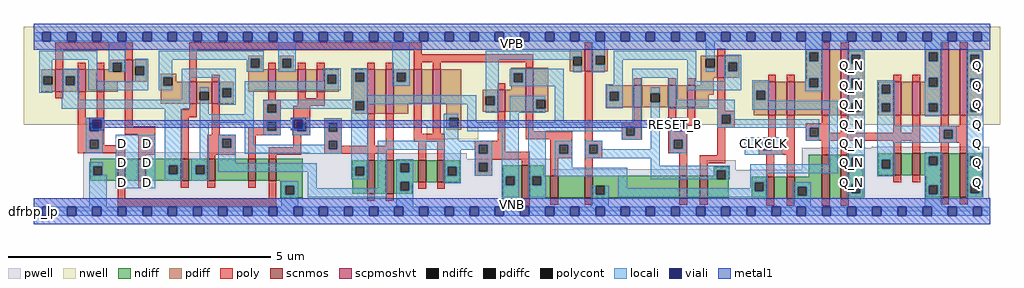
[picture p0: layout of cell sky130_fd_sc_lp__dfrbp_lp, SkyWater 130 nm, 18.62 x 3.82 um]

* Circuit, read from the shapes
.subckt sky130_fd_sc_lp__dfrbp_lp CLK D RESET_B VGND VNB VPB VPWR Q Q_N
XM1 n1 RESET_B VGND VNB sky130_fd_pr__nfet_01v8 w=0.42 l=0.15
XM2 n2 D n1 VNB sky130_fd_pr__nfet_01v8 w=0.42 l=0.15
XM3 n3 n4 n2 VNB sky130_fd_pr__nfet_01v8 w=0.42 l=0.15
XM4 n5 n6 n3 VNB sky130_fd_pr__nfet_01v8 w=0.42 l=0.15
XM5 n7 n8 n5 VNB sky130_fd_pr__nfet_01v8 w=0.42 l=0.15
XM6 VGND RESET_B n7 VNB sky130_fd_pr__nfet_01v8 w=0.42 l=0.15
XM7 n9 n3 n8 VNB sky130_fd_pr__nfet_01v8 w=0.64 l=0.15
XM8 VGND n3 n9 VNB sky130_fd_pr__nfet_01v8 w=0.64 l=0.15
XM9 n10 n4 VGND VNB sky130_fd_pr__nfet_01v8 w=0.42 l=0.15
XM10 n6 n4 n10 VNB sky130_fd_pr__nfet_01v8 w=0.42 l=0.15
XM11 n11 n6 n8 VNB sky130_fd_pr__nfet_01v8 w=0.64 l=0.15
XM12 n12 n4 n11 VNB sky130_fd_pr__nfet_01v8 w=0.42 l=0.15
XM13 VGND n13 n12 VNB sky130_fd_pr__nfet_01v8 w=0.42 l=0.15
XM14 n14 RESET_B VGND VNB sky130_fd_pr__nfet_01v8 w=0.42 l=0.15
XM15 n13 n11 n14 VNB sky130_fd_pr__nfet_01v8 w=0.42 l=0.15
XM16 n15 CLK n4 VNB sky130_fd_pr__nfet_01v8 w=0.42 l=0.15
XM17 VGND CLK n15 VNB sky130_fd_pr__nfet_01v8 w=0.42 l=0.15
XM18 n16 n11 VGND VNB sky130_fd_pr__nfet_01v8 w=0.84 l=0.15
XM19 Q_N n11 n16 VNB sky130_fd_pr__nfet_01v8 w=0.84 l=0.15
XM20 n17 n11 n18 VNB sky130_fd_pr__nfet_01v8 w=0.42 l=0.15
XM21 VGND n11 n17 VNB sky130_fd_pr__nfet_01v8 w=0.42 l=0.15
XM22 n19 n18 VGND VNB sky130_fd_pr__nfet_01v8 w=0.84 l=0.15
XM23 Q n18 n19 VNB sky130_fd_pr__nfet_01v8 w=0.84 l=0.15
XM24 n2 D n20 VPB sky130_fd_pr__pfet_01v8_hvt w=0.42 l=0.15
XM25 n21 RESET_B n2 VPB sky130_fd_pr__pfet_01v8_hvt w=0.42 l=0.15
XM26 VPWR RESET_B n21 VPB sky130_fd_pr__pfet_01v8_hvt w=0.42 l=0.15
XM27 n20 D VPWR VPB sky130_fd_pr__pfet_01v8_hvt w=0.42 l=0.15
XM28 n3 n4 n22 VPB sky130_fd_pr__pfet_01v8_hvt w=0.42 l=0.15
XM29 n2 n6 n3 VPB sky130_fd_pr__pfet_01v8_hvt w=0.42 l=0.15
XM30 VPWR n8 n22 VPB sky130_fd_pr__pfet_01v8_hvt w=0.42 l=0.15
XM31 n23 RESET_B VPWR VPB sky130_fd_pr__pfet_01v8_hvt w=0.42 l=0.15
XM32 n3 RESET_B n23 VPB sky130_fd_pr__pfet_01v8_hvt w=0.42 l=0.15
XM33 n24 n3 n8 VPB sky130_fd_pr__pfet_01v8_hvt w=0.84 l=0.15
XM34 VPWR n3 n24 VPB sky130_fd_pr__pfet_01v8_hvt w=0.84 l=0.15
XM35 n25 n4 VPWR VPB sky130_fd_pr__pfet_01v8_hvt w=0.64 l=0.15
XM36 n6 n4 n25 VPB sky130_fd_pr__pfet_01v8_hvt w=0.64 l=0.15
XM37 n11 n6 n26 VPB sky130_fd_pr__pfet_01v8_hvt w=0.42 l=0.15
XM38 n8 n4 n11 VPB sky130_fd_pr__pfet_01v8_hvt w=0.84 l=0.15
XM39 VPWR n13 n26 VPB sky130_fd_pr__pfet_01v8_hvt w=0.42 l=0.15
XM40 n13 n11 n27 VPB sky130_fd_pr__pfet_01v8_hvt w=0.42 l=0.15
XM41 n28 RESET_B n13 VPB sky130_fd_pr__pfet_01v8_hvt w=0.42 l=0.15
XM42 VPWR RESET_B n28 VPB sky130_fd_pr__pfet_01v8_hvt w=0.42 l=0.15
XM43 n27 n11 VPWR VPB sky130_fd_pr__pfet_01v8_hvt w=0.42 l=0.15
XM44 n29 CLK n4 VPB sky130_fd_pr__pfet_01v8_hvt w=0.64 l=0.15
XM45 VPWR CLK n29 VPB sky130_fd_pr__pfet_01v8_hvt w=0.64 l=0.15
XM46 n30 n11 VPWR VPB sky130_fd_pr__pfet_01v8_hvt w=1.26 l=0.15
XM47 Q_N n11 n30 VPB sky130_fd_pr__pfet_01v8_hvt w=1.26 l=0.15
XM48 n31 n11 n18 VPB sky130_fd_pr__pfet_01v8_hvt w=0.64 l=0.15
XM49 VPWR n11 n31 VPB sky130_fd_pr__pfet_01v8_hvt w=0.64 l=0.15
XM50 n32 n18 VPWR VPB sky130_fd_pr__pfet_01v8_hvt w=1.26 l=0.15
XM51 Q n18 n32 VPB sky130_fd_pr__pfet_01v8_hvt w=1.26 l=0.15
.ends

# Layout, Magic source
magic
tech sky130A
magscale 1 2
<< nwell >>
rect -38 331 3686 704
rect 1498 275 1695 331
<< pwell >>
rect 3196 242 3645 247
rect 189 221 1051 226
rect 189 201 1651 221
rect 189 161 1974 201
rect 2567 161 2677 195
rect 189 158 2677 161
rect 2930 158 3645 242
rect 189 49 3645 158
rect 0 0 3648 49
<< scnmos >>
rect 319 116 349 200
rect 397 116 427 200
rect 560 116 590 200
rect 662 116 692 200
rect 817 116 847 200
rect 895 116 925 200
rect 1271 67 1301 195
rect 1343 67 1373 195
rect 1466 111 1496 195
rect 1538 111 1568 195
rect 1861 47 1891 175
rect 1970 51 2000 135
rect 2102 51 2132 135
rect 2463 51 2493 135
rect 2541 51 2571 135
rect 2795 48 2825 132
rect 2873 48 2903 132
rect 3006 48 3036 216
rect 3078 48 3108 216
rect 3279 137 3309 221
rect 3351 137 3381 221
rect 3460 53 3490 221
rect 3532 53 3562 221
<< scpmoshvt >>
rect 81 457 111 541
rect 167 457 197 541
rect 239 457 269 541
rect 346 494 376 578
rect 592 411 622 495
rect 678 411 708 495
rect 893 457 923 541
rect 1007 457 1037 541
rect 1079 457 1109 541
rect 1271 373 1301 541
rect 1343 373 1373 541
rect 1450 413 1480 541
rect 1522 413 1552 541
rect 1769 379 1799 463
rect 1876 379 1906 547
rect 2102 535 2132 619
rect 2608 510 2638 594
rect 2289 397 2319 481
rect 2421 397 2451 481
rect 2493 397 2523 481
rect 2801 367 2831 495
rect 2873 367 2903 495
rect 3006 367 3036 619
rect 3078 367 3108 619
rect 3279 367 3309 495
rect 3351 367 3381 495
rect 3460 367 3490 619
rect 3532 367 3562 619
<< ndiff >>
rect 215 172 319 200
rect 215 138 227 172
rect 261 138 319 172
rect 215 116 319 138
rect 349 116 397 200
rect 427 175 560 200
rect 427 141 515 175
rect 549 141 560 175
rect 427 116 560 141
rect 590 175 662 200
rect 590 141 617 175
rect 651 141 662 175
rect 590 116 662 141
rect 692 116 817 200
rect 847 116 895 200
rect 925 116 1025 200
rect 940 98 1025 116
rect 940 64 959 98
rect 993 64 1025 98
rect 1214 170 1271 195
rect 1214 136 1226 170
rect 1260 136 1271 170
rect 1214 67 1271 136
rect 1301 67 1343 195
rect 1373 183 1466 195
rect 1373 149 1398 183
rect 1432 149 1466 183
rect 1373 113 1466 149
rect 1373 79 1398 113
rect 1432 111 1466 113
rect 1496 111 1538 195
rect 1568 170 1625 195
rect 1568 136 1579 170
rect 1613 136 1625 170
rect 1568 111 1625 136
rect 1788 133 1861 175
rect 1432 79 1444 111
rect 1788 99 1800 133
rect 1834 99 1861 133
rect 1373 67 1444 79
rect 940 52 1025 64
rect 1788 47 1861 99
rect 1891 135 1948 175
rect 2593 157 2651 169
rect 2593 135 2605 157
rect 1891 133 1970 135
rect 1891 99 1902 133
rect 1936 99 1970 133
rect 1891 51 1970 99
rect 2000 51 2102 135
rect 2132 97 2463 135
rect 2132 63 2143 97
rect 2177 63 2463 97
rect 2132 51 2463 63
rect 2493 51 2541 135
rect 2571 123 2605 135
rect 2639 123 2651 157
rect 2956 132 3006 216
rect 2571 51 2651 123
rect 2738 111 2795 132
rect 2738 77 2750 111
rect 2784 77 2795 111
rect 1891 47 1948 51
rect 2738 48 2795 77
rect 2825 48 2873 132
rect 2903 94 3006 132
rect 2903 60 2914 94
rect 2948 60 3006 94
rect 2903 48 3006 60
rect 3036 48 3078 216
rect 3108 204 3165 216
rect 3108 170 3119 204
rect 3153 170 3165 204
rect 3108 103 3165 170
rect 3222 196 3279 221
rect 3222 162 3234 196
rect 3268 162 3279 196
rect 3222 137 3279 162
rect 3309 137 3351 221
rect 3381 209 3460 221
rect 3381 175 3415 209
rect 3449 175 3460 209
rect 3381 137 3460 175
rect 3108 69 3119 103
rect 3153 69 3165 103
rect 3108 48 3165 69
rect 3403 99 3460 137
rect 3403 65 3415 99
rect 3449 65 3460 99
rect 3403 53 3460 65
rect 3490 53 3532 221
rect 3562 209 3619 221
rect 3562 175 3573 209
rect 3607 175 3619 209
rect 3562 103 3619 175
rect 3562 69 3573 103
rect 3607 69 3619 103
rect 3562 53 3619 69
<< pdiff >>
rect 291 566 346 578
rect 291 541 301 566
rect 27 516 81 541
rect 27 482 36 516
rect 70 482 81 516
rect 27 457 81 482
rect 111 515 167 541
rect 111 481 122 515
rect 156 481 167 515
rect 111 457 167 481
rect 197 457 239 541
rect 269 532 301 541
rect 335 532 346 566
rect 269 494 346 532
rect 376 553 430 578
rect 376 519 387 553
rect 421 519 430 553
rect 376 494 430 519
rect 484 512 543 524
rect 269 457 319 494
rect 484 478 493 512
rect 527 495 543 512
rect 817 582 871 594
rect 817 548 827 582
rect 861 548 871 582
rect 938 582 992 594
rect 817 541 871 548
rect 938 548 948 582
rect 982 548 992 582
rect 938 541 992 548
rect 2045 589 2102 619
rect 2045 555 2057 589
rect 2091 555 2102 589
rect 527 478 592 495
rect 484 411 592 478
rect 622 457 678 495
rect 622 423 633 457
rect 667 423 678 457
rect 622 411 678 423
rect 708 470 763 495
rect 708 436 719 470
rect 753 436 763 470
rect 817 457 893 541
rect 923 457 1007 541
rect 1037 457 1079 541
rect 1109 520 1163 541
rect 1109 486 1120 520
rect 1154 486 1163 520
rect 1109 457 1163 486
rect 1217 529 1271 541
rect 1217 495 1226 529
rect 1260 495 1271 529
rect 708 411 763 436
rect 1217 419 1271 495
rect 1217 385 1226 419
rect 1260 385 1271 419
rect 1217 373 1271 385
rect 1301 373 1343 541
rect 1373 529 1450 541
rect 1373 495 1384 529
rect 1418 495 1450 529
rect 1373 413 1450 495
rect 1480 413 1522 541
rect 1552 413 1630 541
rect 1821 527 1876 547
rect 1821 493 1831 527
rect 1865 493 1876 527
rect 1821 463 1876 493
rect 1373 373 1428 413
rect 1574 357 1630 413
rect 1712 438 1769 463
rect 1712 404 1724 438
rect 1758 404 1769 438
rect 1712 379 1769 404
rect 1799 379 1876 463
rect 1906 425 1963 547
rect 2045 535 2102 555
rect 2132 594 2189 619
rect 2947 607 3006 619
rect 2132 560 2143 594
rect 2177 560 2189 594
rect 2132 535 2189 560
rect 2545 582 2608 594
rect 2545 548 2563 582
rect 2597 548 2608 582
rect 1906 391 1917 425
rect 1951 391 1963 425
rect 1906 379 1963 391
rect 1574 323 1584 357
rect 1618 323 1630 357
rect 1574 311 1630 323
rect 2545 510 2608 548
rect 2638 569 2692 594
rect 2638 535 2649 569
rect 2683 535 2692 569
rect 2638 510 2692 535
rect 2947 573 2959 607
rect 2993 573 3006 607
rect 2545 481 2593 510
rect 2185 456 2289 481
rect 2185 422 2197 456
rect 2231 422 2289 456
rect 2185 397 2289 422
rect 2319 450 2421 481
rect 2319 416 2353 450
rect 2387 416 2421 450
rect 2319 397 2421 416
rect 2451 397 2493 481
rect 2523 445 2593 481
rect 2523 397 2575 445
rect 2947 508 3006 573
rect 2947 495 2959 508
rect 2746 460 2801 495
rect 2746 426 2756 460
rect 2790 426 2801 460
rect 2746 367 2801 426
rect 2831 367 2873 495
rect 2903 474 2959 495
rect 2993 474 3006 508
rect 2903 367 3006 474
rect 3036 367 3078 619
rect 3108 597 3165 619
rect 3108 563 3119 597
rect 3153 563 3165 597
rect 3108 505 3165 563
rect 3403 607 3460 619
rect 3403 573 3415 607
rect 3449 573 3460 607
rect 3108 471 3119 505
rect 3153 471 3165 505
rect 3403 510 3460 573
rect 3403 495 3415 510
rect 3108 413 3165 471
rect 3108 379 3119 413
rect 3153 379 3165 413
rect 3108 367 3165 379
rect 3222 483 3279 495
rect 3222 449 3234 483
rect 3268 449 3279 483
rect 3222 413 3279 449
rect 3222 379 3234 413
rect 3268 379 3279 413
rect 3222 367 3279 379
rect 3309 367 3351 495
rect 3381 476 3415 495
rect 3449 476 3460 510
rect 3381 413 3460 476
rect 3381 379 3415 413
rect 3449 379 3460 413
rect 3381 367 3460 379
rect 3490 367 3532 619
rect 3562 597 3619 619
rect 3562 563 3573 597
rect 3607 563 3619 597
rect 3562 505 3619 563
rect 3562 471 3573 505
rect 3607 471 3619 505
rect 3562 413 3619 471
rect 3562 379 3573 413
rect 3607 379 3619 413
rect 3562 367 3619 379
<< ndiffc >>
rect 227 138 261 172
rect 515 141 549 175
rect 617 141 651 175
rect 959 64 993 98
rect 1226 136 1260 170
rect 1398 149 1432 183
rect 1398 79 1432 113
rect 1579 136 1613 170
rect 1800 99 1834 133
rect 1902 99 1936 133
rect 2143 63 2177 97
rect 2605 123 2639 157
rect 2750 77 2784 111
rect 2914 60 2948 94
rect 3119 170 3153 204
rect 3234 162 3268 196
rect 3415 175 3449 209
rect 3119 69 3153 103
rect 3415 65 3449 99
rect 3573 175 3607 209
rect 3573 69 3607 103
<< pdiffc >>
rect 36 482 70 516
rect 122 481 156 515
rect 301 532 335 566
rect 387 519 421 553
rect 493 478 527 512
rect 827 548 861 582
rect 948 548 982 582
rect 2057 555 2091 589
rect 633 423 667 457
rect 719 436 753 470
rect 1120 486 1154 520
rect 1226 495 1260 529
rect 1226 385 1260 419
rect 1384 495 1418 529
rect 1831 493 1865 527
rect 1724 404 1758 438
rect 2143 560 2177 594
rect 2563 548 2597 582
rect 1917 391 1951 425
rect 1584 323 1618 357
rect 2649 535 2683 569
rect 2959 573 2993 607
rect 2197 422 2231 456
rect 2353 416 2387 450
rect 2756 426 2790 460
rect 2959 474 2993 508
rect 3119 563 3153 597
rect 3415 573 3449 607
rect 3119 471 3153 505
rect 3119 379 3153 413
rect 3234 449 3268 483
rect 3234 379 3268 413
rect 3415 476 3449 510
rect 3415 379 3449 413
rect 3573 563 3607 597
rect 3573 471 3607 505
rect 3573 379 3607 413
<< poly >>
rect 81 615 376 645
rect 81 541 111 615
rect 346 578 376 615
rect 592 615 1480 645
rect 2102 619 2132 645
rect 167 541 197 567
rect 239 541 269 567
rect 81 431 111 457
rect 167 356 197 457
rect 239 356 269 457
rect 167 340 269 356
rect 167 306 213 340
rect 247 306 269 340
rect 167 272 269 306
rect 346 324 376 494
rect 592 495 622 615
rect 1450 599 1480 615
rect 893 541 923 567
rect 1450 569 1906 599
rect 1007 541 1037 567
rect 1079 541 1109 567
rect 1271 541 1301 567
rect 1343 541 1373 567
rect 1450 541 1480 569
rect 1522 541 1552 569
rect 1876 547 1906 569
rect 678 495 708 521
rect 893 425 923 457
rect 1007 432 1037 457
rect 1079 432 1109 457
rect 592 389 622 411
rect 560 359 622 389
rect 346 294 463 324
rect 167 238 213 272
rect 247 252 269 272
rect 397 276 463 294
rect 247 238 349 252
rect 167 222 349 238
rect 319 200 349 222
rect 397 242 413 276
rect 447 242 463 276
rect 397 215 463 242
rect 397 200 427 215
rect 560 200 590 359
rect 678 292 708 411
rect 875 409 941 425
rect 875 375 891 409
rect 925 375 941 409
rect 1007 402 1109 432
rect 875 341 941 375
rect 875 321 891 341
rect 817 307 891 321
rect 925 307 941 341
rect 662 276 769 292
rect 662 242 719 276
rect 753 242 769 276
rect 662 215 769 242
rect 817 291 941 307
rect 989 340 1055 402
rect 1769 463 1799 489
rect 989 306 1005 340
rect 1039 306 1055 340
rect 662 200 692 215
rect 817 200 847 291
rect 989 290 1055 306
rect 1108 338 1174 354
rect 1108 304 1124 338
rect 1158 304 1174 338
rect 989 245 1019 290
rect 895 215 1019 245
rect 1108 270 1174 304
rect 1108 236 1124 270
rect 1158 250 1174 270
rect 1271 250 1301 373
rect 1343 250 1373 373
rect 1450 296 1480 413
rect 1522 296 1552 413
rect 2608 594 2638 620
rect 3006 619 3036 645
rect 3078 619 3108 645
rect 3460 619 3490 645
rect 3532 619 3562 645
rect 1450 266 1568 296
rect 1769 269 1799 379
rect 1876 305 1906 379
rect 1876 275 2054 305
rect 1158 236 1373 250
rect 1108 220 1373 236
rect 895 200 925 215
rect 1271 195 1301 220
rect 1343 195 1373 220
rect 1466 195 1496 266
rect 1538 195 1568 266
rect 1682 253 1799 269
rect 1682 219 1698 253
rect 1732 227 1799 253
rect 1970 253 2054 275
rect 1732 219 1891 227
rect 1682 197 1891 219
rect 319 48 349 116
rect 397 90 427 116
rect 560 90 590 116
rect 662 90 692 116
rect 817 90 847 116
rect 895 48 925 116
rect 1682 185 1748 197
rect 1682 151 1698 185
rect 1732 151 1748 185
rect 1861 175 1891 197
rect 1970 219 2004 253
rect 2038 219 2054 253
rect 1970 203 2054 219
rect 2102 269 2132 535
rect 2289 481 2319 507
rect 2421 481 2451 507
rect 2493 481 2523 507
rect 2289 339 2319 397
rect 2243 323 2319 339
rect 2243 289 2259 323
rect 2293 289 2319 323
rect 2243 273 2319 289
rect 2421 356 2451 397
rect 2493 356 2523 397
rect 2421 340 2523 356
rect 2421 306 2441 340
rect 2475 326 2523 340
rect 2608 384 2638 510
rect 2801 495 2831 521
rect 2873 495 2903 521
rect 2608 368 2674 384
rect 2608 334 2624 368
rect 2658 334 2674 368
rect 3279 495 3309 521
rect 3351 495 3381 521
rect 2475 306 2493 326
rect 2421 272 2493 306
rect 2102 253 2168 269
rect 2102 219 2118 253
rect 2152 219 2168 253
rect 2421 238 2441 272
rect 2475 238 2493 272
rect 2421 222 2493 238
rect 2102 203 2168 219
rect 1682 135 1748 151
rect 1466 85 1496 111
rect 1538 85 1568 111
rect 319 18 925 48
rect 1271 41 1301 67
rect 1343 41 1373 67
rect 1970 135 2000 203
rect 2102 135 2132 203
rect 2463 135 2493 222
rect 2608 318 2674 334
rect 2608 214 2638 318
rect 2801 282 2831 367
rect 2765 266 2831 282
rect 2765 232 2781 266
rect 2815 246 2831 266
rect 2873 246 2903 367
rect 3006 335 3036 367
rect 2945 319 3036 335
rect 2945 285 2961 319
rect 2995 299 3036 319
rect 3078 299 3108 367
rect 3279 299 3309 367
rect 3351 299 3381 367
rect 3460 327 3490 367
rect 3532 327 3562 367
rect 2995 285 3381 299
rect 2945 269 3381 285
rect 2815 232 2903 246
rect 2765 216 2903 232
rect 3006 216 3036 269
rect 3078 216 3108 269
rect 3279 221 3309 269
rect 3351 221 3381 269
rect 3455 311 3562 327
rect 3455 277 3471 311
rect 3505 277 3562 311
rect 3455 261 3562 277
rect 3460 221 3490 261
rect 3532 221 3562 261
rect 2541 184 2638 214
rect 2541 135 2571 184
rect 2795 132 2825 216
rect 2873 132 2903 216
rect 1861 21 1891 47
rect 1970 25 2000 51
rect 2102 25 2132 51
rect 2463 25 2493 51
rect 2541 25 2571 51
rect 3279 111 3309 137
rect 3351 111 3381 137
rect 2795 22 2825 48
rect 2873 22 2903 48
rect 3006 22 3036 48
rect 3078 22 3108 48
rect 3460 27 3490 53
rect 3532 27 3562 53
<< polycont >>
rect 213 306 247 340
rect 213 238 247 272
rect 413 242 447 276
rect 891 375 925 409
rect 891 307 925 341
rect 719 242 753 276
rect 1005 306 1039 340
rect 1124 304 1158 338
rect 1124 236 1158 270
rect 1698 219 1732 253
rect 1698 151 1732 185
rect 2004 219 2038 253
rect 2259 289 2293 323
rect 2441 306 2475 340
rect 2624 334 2658 368
rect 2118 219 2152 253
rect 2441 238 2475 272
rect 2781 232 2815 266
rect 2961 285 2995 319
rect 3471 277 3505 311
<< locali >>
rect 0 649 31 683
rect 65 649 127 683
rect 161 649 223 683
rect 257 649 319 683
rect 353 649 415 683
rect 449 649 511 683
rect 545 649 607 683
rect 641 649 703 683
rect 737 649 799 683
rect 833 649 895 683
rect 929 649 991 683
rect 1025 649 1087 683
rect 1121 649 1183 683
rect 1217 649 1279 683
rect 1313 649 1375 683
rect 1409 649 1471 683
rect 1505 649 1567 683
rect 1601 649 1663 683
rect 1697 649 1759 683
rect 1793 649 1855 683
rect 1889 649 1951 683
rect 1985 649 2047 683
rect 2081 649 2143 683
rect 2177 649 2239 683
rect 2273 649 2335 683
rect 2369 649 2431 683
rect 2465 649 2527 683
rect 2561 649 2623 683
rect 2657 649 2719 683
rect 2753 649 2815 683
rect 2849 649 2911 683
rect 2945 649 3007 683
rect 3041 649 3103 683
rect 3137 649 3199 683
rect 3233 649 3295 683
rect 3329 649 3391 683
rect 3425 649 3487 683
rect 3521 649 3583 683
rect 3617 649 3648 683
rect 20 579 242 613
rect 20 516 70 579
rect 20 482 36 516
rect 20 453 70 482
rect 106 515 172 543
rect 106 481 122 515
rect 156 481 172 515
rect 106 426 172 481
rect 208 496 242 579
rect 285 566 351 649
rect 477 582 877 613
rect 285 532 301 566
rect 335 532 351 566
rect 387 553 437 582
rect 421 519 437 553
rect 387 496 437 519
rect 208 462 437 496
rect 477 579 827 582
rect 477 512 527 579
rect 811 548 827 579
rect 861 548 877 582
rect 477 478 493 512
rect 477 462 527 478
rect 563 509 769 543
rect 811 532 877 548
rect 932 582 998 649
rect 932 548 948 582
rect 982 548 998 582
rect 932 532 998 548
rect 563 426 597 509
rect 106 392 597 426
rect 633 457 667 473
rect 197 350 263 356
rect 197 340 223 350
rect 197 306 213 340
rect 257 316 263 350
rect 247 306 263 316
rect 197 272 263 306
rect 197 238 213 272
rect 247 238 263 272
rect 197 222 263 238
rect 313 276 463 292
rect 313 242 413 276
rect 447 242 463 276
rect 211 172 263 188
rect 211 138 227 172
rect 261 140 263 172
rect 261 138 277 140
rect 211 17 277 138
rect 313 88 463 242
rect 499 175 565 392
rect 633 371 667 423
rect 703 470 769 509
rect 1104 520 1170 545
rect 1104 496 1120 520
rect 703 436 719 470
rect 753 436 769 470
rect 703 407 769 436
rect 805 486 1120 496
rect 1154 486 1170 520
rect 805 462 1170 486
rect 1210 529 1276 545
rect 1210 495 1226 529
rect 1260 495 1276 529
rect 805 371 839 462
rect 1210 443 1276 495
rect 1368 529 1434 649
rect 1368 495 1384 529
rect 1418 495 1434 529
rect 1368 479 1434 495
rect 1724 589 2091 613
rect 1724 579 2057 589
rect 1210 426 1688 443
rect 633 337 839 371
rect 633 200 667 337
rect 499 141 515 175
rect 549 141 565 175
rect 499 116 565 141
rect 601 175 667 200
rect 601 141 617 175
rect 651 141 667 175
rect 703 276 769 292
rect 703 242 719 276
rect 753 242 769 276
rect 703 184 769 242
rect 805 254 839 337
rect 875 419 1688 426
rect 875 409 1226 419
rect 875 375 891 409
rect 925 392 1226 409
rect 925 375 941 392
rect 875 341 941 375
rect 1210 385 1226 392
rect 1260 409 1688 419
rect 1260 385 1276 409
rect 875 307 891 341
rect 925 307 941 341
rect 875 291 941 307
rect 985 350 1055 356
rect 985 316 991 350
rect 1025 340 1055 350
rect 985 306 1005 316
rect 1039 306 1055 340
rect 985 290 1055 306
rect 1108 338 1174 354
rect 1108 304 1124 338
rect 1158 304 1174 338
rect 1108 270 1174 304
rect 1108 254 1124 270
rect 805 236 1124 254
rect 1158 236 1174 270
rect 805 220 1174 236
rect 703 150 1079 184
rect 601 116 667 141
rect 943 98 1009 114
rect 943 64 959 98
rect 993 64 1009 98
rect 943 17 1009 64
rect 1045 87 1079 150
rect 1210 170 1276 385
rect 1563 357 1618 373
rect 1563 323 1584 357
rect 1563 269 1618 323
rect 1654 339 1688 409
rect 1724 438 1774 579
rect 1815 527 2021 543
rect 2057 531 2091 555
rect 2127 594 2177 649
rect 2127 560 2143 594
rect 2127 531 2177 560
rect 2213 579 2527 613
rect 1815 493 1831 527
rect 1865 493 2021 527
rect 1815 477 2021 493
rect 2213 485 2247 579
rect 1758 404 1774 438
rect 1724 375 1774 404
rect 1816 425 1951 441
rect 1816 391 1917 425
rect 1816 375 1951 391
rect 1816 339 1850 375
rect 1987 339 2021 477
rect 2181 456 2247 485
rect 2181 422 2197 456
rect 2231 422 2247 456
rect 2181 393 2247 422
rect 2283 509 2457 543
rect 2283 339 2317 509
rect 1654 305 1850 339
rect 1210 136 1226 170
rect 1260 136 1276 170
rect 1210 123 1276 136
rect 1312 253 1748 269
rect 1312 235 1698 253
rect 1312 87 1346 235
rect 1045 53 1346 87
rect 1382 183 1448 199
rect 1382 149 1398 183
rect 1432 149 1448 183
rect 1382 113 1448 149
rect 1382 79 1398 113
rect 1432 79 1448 113
rect 1563 170 1629 235
rect 1563 136 1579 170
rect 1613 136 1629 170
rect 1563 107 1629 136
rect 1682 219 1698 235
rect 1732 219 1748 253
rect 1682 185 1748 219
rect 1682 151 1698 185
rect 1732 151 1748 185
rect 1682 135 1748 151
rect 1784 133 1850 305
rect 1382 17 1448 79
rect 1784 99 1800 133
rect 1834 99 1850 133
rect 1784 53 1850 99
rect 1886 323 2317 339
rect 1886 305 2259 323
rect 1886 133 1952 305
rect 2243 289 2259 305
rect 2293 289 2317 323
rect 2243 273 2317 289
rect 2353 450 2387 473
rect 1988 253 2054 269
rect 1988 219 2004 253
rect 2038 219 2054 253
rect 1988 167 2054 219
rect 2102 253 2168 269
rect 2102 219 2118 253
rect 2152 237 2168 253
rect 2353 237 2387 416
rect 2423 426 2457 509
rect 2493 496 2527 579
rect 2563 582 2597 649
rect 2943 607 3009 649
rect 2563 532 2597 548
rect 2633 569 2699 598
rect 2633 535 2649 569
rect 2683 535 2699 569
rect 2633 496 2699 535
rect 2943 573 2959 607
rect 2993 573 3009 607
rect 2943 508 3009 573
rect 2493 462 2699 496
rect 2740 460 2806 499
rect 2740 426 2756 460
rect 2790 426 2806 460
rect 2943 474 2959 508
rect 2993 474 3009 508
rect 2943 458 3009 474
rect 3103 597 3169 613
rect 3103 563 3119 597
rect 3153 563 3169 597
rect 3103 505 3169 563
rect 3103 471 3119 505
rect 3153 471 3169 505
rect 3399 607 3465 649
rect 3399 573 3415 607
rect 3449 573 3465 607
rect 3399 510 3465 573
rect 2423 392 2674 426
rect 2608 368 2674 392
rect 2740 422 2806 426
rect 2740 388 3067 422
rect 2152 219 2387 237
rect 2425 350 2491 356
rect 2425 316 2431 350
rect 2465 340 2491 350
rect 2425 306 2441 316
rect 2475 306 2491 340
rect 2608 334 2624 368
rect 2658 352 2674 368
rect 2658 334 2997 352
rect 2608 319 2997 334
rect 2608 318 2961 319
rect 2425 272 2491 306
rect 2945 285 2961 318
rect 2995 285 2997 319
rect 2425 238 2441 272
rect 2475 238 2491 272
rect 2425 222 2491 238
rect 2713 266 2855 282
rect 2945 269 2997 285
rect 2713 232 2781 266
rect 2815 232 2855 266
rect 2102 203 2387 219
rect 2713 216 2855 232
rect 2353 173 2387 203
rect 3033 180 3067 388
rect 1988 133 2263 167
rect 1886 99 1902 133
rect 1936 99 1952 133
rect 1886 53 1952 99
rect 2127 63 2143 97
rect 2177 63 2193 97
rect 2127 17 2193 63
rect 2229 87 2263 133
rect 2353 157 2655 173
rect 2353 123 2605 157
rect 2639 123 2655 157
rect 2734 146 3067 180
rect 3103 413 3169 471
rect 3103 379 3119 413
rect 3153 379 3169 413
rect 3103 204 3169 379
rect 3103 170 3119 204
rect 3153 170 3169 204
rect 2734 111 2800 146
rect 2734 87 2750 111
rect 2229 77 2750 87
rect 2784 77 2800 111
rect 2229 53 2800 77
rect 2898 94 2964 110
rect 2898 60 2914 94
rect 2948 60 2964 94
rect 2898 17 2964 60
rect 3103 103 3169 170
rect 3218 483 3284 499
rect 3218 449 3234 483
rect 3268 449 3284 483
rect 3218 413 3284 449
rect 3218 379 3234 413
rect 3268 379 3284 413
rect 3218 327 3284 379
rect 3399 476 3415 510
rect 3449 476 3465 510
rect 3399 413 3465 476
rect 3399 379 3415 413
rect 3449 379 3465 413
rect 3399 363 3465 379
rect 3557 597 3623 613
rect 3557 563 3573 597
rect 3607 563 3623 597
rect 3557 505 3623 563
rect 3557 471 3573 505
rect 3607 471 3623 505
rect 3557 413 3623 471
rect 3557 379 3573 413
rect 3607 379 3623 413
rect 3218 311 3521 327
rect 3218 277 3471 311
rect 3505 277 3521 311
rect 3218 261 3521 277
rect 3218 196 3284 261
rect 3218 162 3234 196
rect 3268 162 3284 196
rect 3218 133 3284 162
rect 3399 209 3465 225
rect 3399 175 3415 209
rect 3449 175 3465 209
rect 3103 69 3119 103
rect 3153 69 3169 103
rect 3103 53 3169 69
rect 3399 99 3465 175
rect 3399 65 3415 99
rect 3449 65 3465 99
rect 3399 17 3465 65
rect 3557 209 3623 379
rect 3557 175 3573 209
rect 3607 175 3623 209
rect 3557 103 3623 175
rect 3557 69 3573 103
rect 3607 69 3623 103
rect 3557 53 3623 69
rect 0 -17 31 17
rect 65 -17 127 17
rect 161 -17 223 17
rect 257 -17 319 17
rect 353 -17 415 17
rect 449 -17 511 17
rect 545 -17 607 17
rect 641 -17 703 17
rect 737 -17 799 17
rect 833 -17 895 17
rect 929 -17 991 17
rect 1025 -17 1087 17
rect 1121 -17 1183 17
rect 1217 -17 1279 17
rect 1313 -17 1375 17
rect 1409 -17 1471 17
rect 1505 -17 1567 17
rect 1601 -17 1663 17
rect 1697 -17 1759 17
rect 1793 -17 1855 17
rect 1889 -17 1951 17
rect 1985 -17 2047 17
rect 2081 -17 2143 17
rect 2177 -17 2239 17
rect 2273 -17 2335 17
rect 2369 -17 2431 17
rect 2465 -17 2527 17
rect 2561 -17 2623 17
rect 2657 -17 2719 17
rect 2753 -17 2815 17
rect 2849 -17 2911 17
rect 2945 -17 3007 17
rect 3041 -17 3103 17
rect 3137 -17 3199 17
rect 3233 -17 3295 17
rect 3329 -17 3391 17
rect 3425 -17 3487 17
rect 3521 -17 3583 17
rect 3617 -17 3648 17
<< viali >>
rect 31 649 65 683
rect 127 649 161 683
rect 223 649 257 683
rect 319 649 353 683
rect 415 649 449 683
rect 511 649 545 683
rect 607 649 641 683
rect 703 649 737 683
rect 799 649 833 683
rect 895 649 929 683
rect 991 649 1025 683
rect 1087 649 1121 683
rect 1183 649 1217 683
rect 1279 649 1313 683
rect 1375 649 1409 683
rect 1471 649 1505 683
rect 1567 649 1601 683
rect 1663 649 1697 683
rect 1759 649 1793 683
rect 1855 649 1889 683
rect 1951 649 1985 683
rect 2047 649 2081 683
rect 2143 649 2177 683
rect 2239 649 2273 683
rect 2335 649 2369 683
rect 2431 649 2465 683
rect 2527 649 2561 683
rect 2623 649 2657 683
rect 2719 649 2753 683
rect 2815 649 2849 683
rect 2911 649 2945 683
rect 3007 649 3041 683
rect 3103 649 3137 683
rect 3199 649 3233 683
rect 3295 649 3329 683
rect 3391 649 3425 683
rect 3487 649 3521 683
rect 3583 649 3617 683
rect 223 340 257 350
rect 223 316 247 340
rect 247 316 257 340
rect 991 340 1025 350
rect 991 316 1005 340
rect 1005 316 1025 340
rect 2431 340 2465 350
rect 2431 316 2441 340
rect 2441 316 2465 340
rect 31 -17 65 17
rect 127 -17 161 17
rect 223 -17 257 17
rect 319 -17 353 17
rect 415 -17 449 17
rect 511 -17 545 17
rect 607 -17 641 17
rect 703 -17 737 17
rect 799 -17 833 17
rect 895 -17 929 17
rect 991 -17 1025 17
rect 1087 -17 1121 17
rect 1183 -17 1217 17
rect 1279 -17 1313 17
rect 1375 -17 1409 17
rect 1471 -17 1505 17
rect 1567 -17 1601 17
rect 1663 -17 1697 17
rect 1759 -17 1793 17
rect 1855 -17 1889 17
rect 1951 -17 1985 17
rect 2047 -17 2081 17
rect 2143 -17 2177 17
rect 2239 -17 2273 17
rect 2335 -17 2369 17
rect 2431 -17 2465 17
rect 2527 -17 2561 17
rect 2623 -17 2657 17
rect 2719 -17 2753 17
rect 2815 -17 2849 17
rect 2911 -17 2945 17
rect 3007 -17 3041 17
rect 3103 -17 3137 17
rect 3199 -17 3233 17
rect 3295 -17 3329 17
rect 3391 -17 3425 17
rect 3487 -17 3521 17
rect 3583 -17 3617 17
<< metal1 >>
rect 0 683 3648 715
rect 0 649 31 683
rect 65 649 127 683
rect 161 649 223 683
rect 257 649 319 683
rect 353 649 415 683
rect 449 649 511 683
rect 545 649 607 683
rect 641 649 703 683
rect 737 649 799 683
rect 833 649 895 683
rect 929 649 991 683
rect 1025 649 1087 683
rect 1121 649 1183 683
rect 1217 649 1279 683
rect 1313 649 1375 683
rect 1409 649 1471 683
rect 1505 649 1567 683
rect 1601 649 1663 683
rect 1697 649 1759 683
rect 1793 649 1855 683
rect 1889 649 1951 683
rect 1985 649 2047 683
rect 2081 649 2143 683
rect 2177 649 2239 683
rect 2273 649 2335 683
rect 2369 649 2431 683
rect 2465 649 2527 683
rect 2561 649 2623 683
rect 2657 649 2719 683
rect 2753 649 2815 683
rect 2849 649 2911 683
rect 2945 649 3007 683
rect 3041 649 3103 683
rect 3137 649 3199 683
rect 3233 649 3295 683
rect 3329 649 3391 683
rect 3425 649 3487 683
rect 3521 649 3583 683
rect 3617 649 3648 683
rect 0 617 3648 649
rect 211 350 269 356
rect 211 316 223 350
rect 257 347 269 350
rect 979 350 1037 356
rect 979 347 991 350
rect 257 319 991 347
rect 257 316 269 319
rect 211 310 269 316
rect 979 316 991 319
rect 1025 347 1037 350
rect 2419 350 2477 356
rect 2419 347 2431 350
rect 1025 319 2431 347
rect 1025 316 1037 319
rect 979 310 1037 316
rect 2419 316 2431 319
rect 2465 316 2477 350
rect 2419 310 2477 316
rect 0 17 3648 49
rect 0 -17 31 17
rect 65 -17 127 17
rect 161 -17 223 17
rect 257 -17 319 17
rect 353 -17 415 17
rect 449 -17 511 17
rect 545 -17 607 17
rect 641 -17 703 17
rect 737 -17 799 17
rect 833 -17 895 17
rect 929 -17 991 17
rect 1025 -17 1087 17
rect 1121 -17 1183 17
rect 1217 -17 1279 17
rect 1313 -17 1375 17
rect 1409 -17 1471 17
rect 1505 -17 1567 17
rect 1601 -17 1663 17
rect 1697 -17 1759 17
rect 1793 -17 1855 17
rect 1889 -17 1951 17
rect 1985 -17 2047 17
rect 2081 -17 2143 17
rect 2177 -17 2239 17
rect 2273 -17 2335 17
rect 2369 -17 2431 17
rect 2465 -17 2527 17
rect 2561 -17 2623 17
rect 2657 -17 2719 17
rect 2753 -17 2815 17
rect 2849 -17 2911 17
rect 2945 -17 3007 17
rect 3041 -17 3103 17
rect 3137 -17 3199 17
rect 3233 -17 3295 17
rect 3329 -17 3391 17
rect 3425 -17 3487 17
rect 3521 -17 3583 17
rect 3617 -17 3648 17
rect 0 -49 3648 -17
<< labels >>
flabel pwell s 0 0 3648 49 0 FreeSans 200 0 0 0 VNB
port 5 nsew ground bidirectional
flabel nwell s 0 617 3648 666 0 FreeSans 200 0 0 0 VPB
port 6 nsew power bidirectional
rlabel comment s 0 0 0 0 4 dfrbp_lp
flabel metal1 s 2431 316 2465 350 0 FreeSans 340 0 0 0 RESET_B
port 3 nsew signal input
flabel metal1 s 0 617 3648 666 0 FreeSans 340 0 0 0 VPWR
port 7 nsew power bidirectional
flabel metal1 s 0 0 3648 49 0 FreeSans 340 0 0 0 VGND
port 4 nsew ground bidirectional
flabel locali s 2719 242 2753 276 0 FreeSans 340 0 0 0 CLK
port 1 nsew clock input
flabel locali s 2815 242 2849 276 0 FreeSans 340 0 0 0 CLK
port 1 nsew clock input
flabel locali s 3583 94 3617 128 0 FreeSans 340 0 0 0 Q
port 8 nsew signal output
flabel locali s 3583 168 3617 202 0 FreeSans 340 0 0 0 Q
port 8 nsew signal output
flabel locali s 3583 242 3617 276 0 FreeSans 340 0 0 0 Q
port 8 nsew signal output
flabel locali s 3583 316 3617 350 0 FreeSans 340 0 0 0 Q
port 8 nsew signal output
flabel locali s 3583 390 3617 424 0 FreeSans 340 0 0 0 Q
port 8 nsew signal output
flabel locali s 3583 464 3617 498 0 FreeSans 340 0 0 0 Q
port 8 nsew signal output
flabel locali s 3583 538 3617 572 0 FreeSans 340 0 0 0 Q
port 8 nsew signal output
flabel locali s 3103 94 3137 128 0 FreeSans 340 0 0 0 Q_N
port 9 nsew signal output
flabel locali s 3103 168 3137 202 0 FreeSans 340 0 0 0 Q_N
port 9 nsew signal output
flabel locali s 3103 242 3137 276 0 FreeSans 340 0 0 0 Q_N
port 9 nsew signal output
flabel locali s 3103 316 3137 350 0 FreeSans 340 0 0 0 Q_N
port 9 nsew signal output
flabel locali s 3103 390 3137 424 0 FreeSans 340 0 0 0 Q_N
port 9 nsew signal output
flabel locali s 3103 464 3137 498 0 FreeSans 340 0 0 0 Q_N
port 9 nsew signal output
flabel locali s 3103 538 3137 572 0 FreeSans 340 0 0 0 Q_N
port 9 nsew signal output
flabel locali s 319 94 353 128 0 FreeSans 340 0 0 0 D
port 2 nsew signal input
flabel locali s 319 168 353 202 0 FreeSans 340 0 0 0 D
port 2 nsew signal input
flabel locali s 319 242 353 276 0 FreeSans 340 0 0 0 D
port 2 nsew signal input
flabel locali s 415 94 449 128 0 FreeSans 340 0 0 0 D
port 2 nsew signal input
flabel locali s 415 168 449 202 0 FreeSans 340 0 0 0 D
port 2 nsew signal input
flabel locali s 415 242 449 276 0 FreeSans 340 0 0 0 D
port 2 nsew signal input
<< properties >>
string LEFsite unit
string LEFclass CORE
string FIXED_BBOX 0 0 3648 666
string GDS_FILE $PDKPATH/libs.ref/sky130_fd_sc_lp/gds/sky130_fd_sc_lp.gds
string LEFsymmetry R90
string GDS_END 4569760
string GDS_START 4547784
<< end >>
